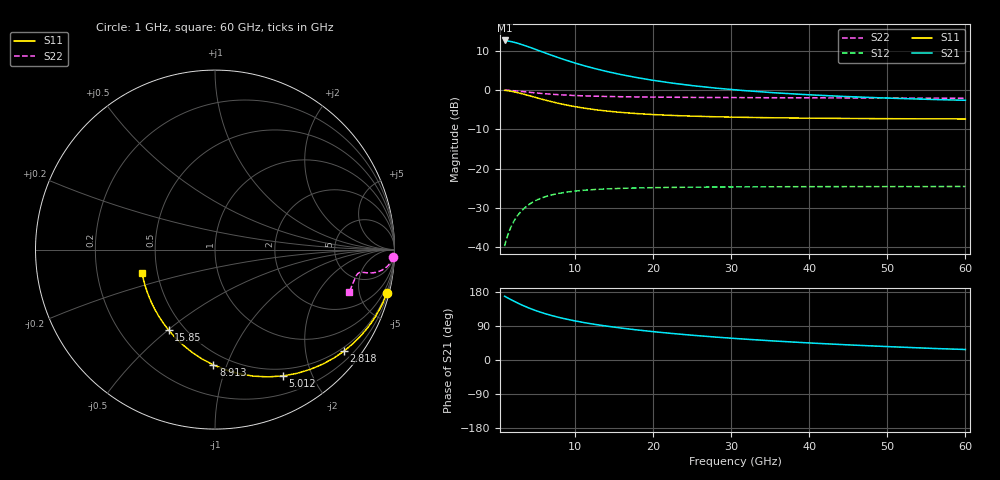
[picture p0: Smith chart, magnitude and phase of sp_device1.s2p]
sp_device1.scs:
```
// sp_device1.scs - Step 10c: S-parameters of graded_hemt.va, Device 1, V_GS = 0.0 V, V_DS = 10.0 V
// written by va_netlists.py on 2026-11-18; ideal bias tees (1 H, 1 F) keep the 50-ohm ports off the DC path
simulator lang=spectre
global 0
ahdl_include "graded_hemt.va"
VG (gb 0) vsource dc=0.0
LG (gb g) inductor l=1
CG (p1 g) capacitor c=1
P1 (p1 0) port r=50 num=1
VD (db 0) vsource dc=10.0
LD (db d) inductor l=1
CD (p2 d) capacitor c=1
P2 (p2 0) port r=50 num=2
DUT (d g 0) graded_hemt \
    w=0.00015 l=7e-07 epsr=9.5 db=0 tg=2e-08 meff=0.217 tdev=300 voff=-1.26032316972305 \
    gam=0.666666666666667 mulf=0.091 mua=0 mub=0 thsat=0 vsat0=74680.2100041908 th1=0.3 \
    th2=0.564098277435682 nmax=5e+16 delta=4.35464616798877 lsg=5e-07 lgd=3.5e-06 nacc=1.13e+17 \
    u0=0.0631037281039283 vsatacc=180000 beta=1.29123847508154 \
    rg=17.5 cgsfr=0 cgdfr=1.67e-14 cdsfr=0
sp1 sp ports=[P1 P2] start=1G stop=60G dec=20 file="sp_device1.s2p" datafmt=touchstone
```
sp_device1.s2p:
! Touchstone Ver. 1.0
! Number of ports is 2
# Hz	S	RI	R	50.000000
! SCATTERING PARAMETERS  :
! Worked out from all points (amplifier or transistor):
!   37 points, 1 GHz to 60 GHz, reference 50 ohm
!   highest |S21| = 12.6 dB at 1 GHz (marker M1)
!   |S21| within 3 dB of that: start of sweep to 5.964 GHz
!   unconditionally stable (mu >= 1): 9.075 GHz to end of sweep
!   at 1.995 GHz: K = 0.23, MSG = 23.1 dB, |S12| = -34.1 dB
!   at 7.943 GHz: K = 0.88, MSG = 17.2 dB, |S12| = -26.3 dB
!   at 60 GHz: K = 3.92, MAG = 2.1 dB, |S12| = -24.5 dB
!   S11 on the Smith chart (normalised r, x): 1 GHz: 0.41, -8.00; 2.818 GHz: 0.41, -2.84; 5.012 GHz: 0.41, -1.60; 8.913 GHz: 0.41, -0.90; 15.85 GHz: 0.41, -0.50; 60 GHz: 0.41, -0.13
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1e9  0.9573 -0.2424  -4.161 0.8587  0.00179 0.0102  0.9936 -0.0399
2.818383e9  0.7193 -0.5651  -3.316 2  0.0118 0.0237  0.9581 -0.0949
3.981072e9  0.5321 -0.6668  -2.651 2.359  0.0196 0.028  0.93 -0.1144
5.011872e9  0.3784 -0.7037  -2.105 2.488  0.0261 0.0295  0.907 -0.1238
7.079458e9  0.1364 -0.6921  -1.246 2.442  0.0363 0.029  0.8706 -0.1299
8.912509e9  -0.00926 -0.6425  -0.7293 2.262  0.0424 0.027  0.8485 -0.1294
1.258925e10  -0.1788 -0.5313  -0.1277 1.859  0.0495 0.0223  0.8223 -0.1266
1.584893e10  -0.2572 -0.4501  0.1497 1.563  0.0528 0.0189  0.8094 -0.1267
2.238721e10  -0.3327 -0.3378  0.416 1.15  0.0559 0.0141  0.795 -0.1343
3.162278e10  -0.374 -0.2465  0.5592 0.8057  0.0577 0.0103  0.7826 -0.1547
6e10  -0.4057 -0.133  0.6531 0.3434  0.059 0.0055  0.7466 -0.2373
